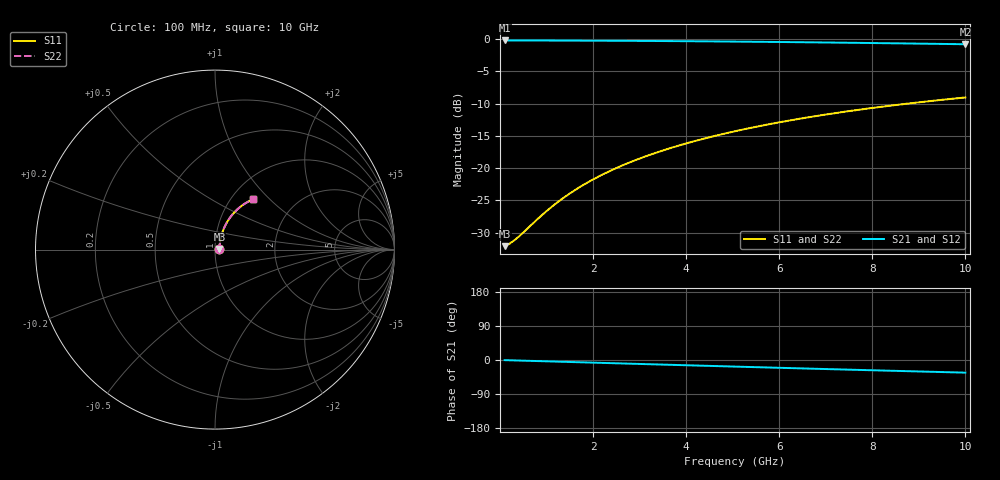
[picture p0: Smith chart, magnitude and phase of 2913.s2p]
# Hz S RI R 50.00
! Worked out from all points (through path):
!   100 points, 100 MHz to 10 GHz, reference 50 ohm
!   highest |S21| = -0.22 dB at 100 MHz (marker M1); lowest = -0.8 dB at 10 GHz (marker M2)
!   group delay of S21, straight-line fit = 9.29 ps
!   lowest |S11| = -32.1 dB at 100 MHz (marker M3), VSWR 1.05, Z = 52.5 + j0.394 ohm
!   |S11| at or under -10 dB: start of sweep to 8.763 GHz
!   |S22| runs from -32.1 to -9.1 dB; largest |S21 - S12| = 0
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1e8  0.0246 0.00375  0.9754 -0.00594  0.9754 -0.00594  0.0246 0.00375
2e8  0.0248 0.0075  0.9752 -0.0119  0.9752 -0.0119  0.0248 0.0075
3e8  0.025 0.0112  0.9749 -0.0178  0.9749 -0.0178  0.025 0.0112
4e8  0.0253 0.015  0.9747 -0.0237  0.9747 -0.0237  0.0253 0.015
9e8  0.0271 0.0336  0.9727 -0.0533  0.9727 -0.0533  0.0271 0.0336
1.2e9  0.0287 0.0448  0.971 -0.071  0.971 -0.071  0.0287 0.0448
1.5e9  0.0306 0.0558  0.9688 -0.0886  0.9688 -0.0886  0.0306 0.0558
1.8e9  0.033 0.0667  0.9662 -0.1061  0.9662 -0.1061  0.033 0.0667
2.1e9  0.0357 0.0776  0.9632 -0.1235  0.9632 -0.1235  0.0357 0.0776
2.5e9  0.0399 0.0918  0.9585 -0.1465  0.9585 -0.1465  0.0399 0.0918
2.9e9  0.0448 0.1058  0.9531 -0.1693  0.9531 -0.1693  0.0448 0.1058
3.4e9  0.0518 0.1229  0.9453 -0.1973  0.9453 -0.1973  0.0518 0.1229
3.8e9  0.0581 0.1361  0.9383 -0.2193  0.9383 -0.2193  0.0581 0.1361
4.2e9  0.065 0.149  0.9306 -0.241  0.9306 -0.241  0.065 0.149
4.6e9  0.0725 0.1615  0.9223 -0.2623  0.9223 -0.2623  0.0725 0.1615
5.1e9  0.0825 0.1765  0.911 -0.2883  0.911 -0.2883  0.0825 0.1765
5.9e9  0.1003 0.199  0.8911 -0.3285  0.8911 -0.3285  0.1003 0.199
6.7e9  0.1198 0.2196  0.869 -0.3667  0.869 -0.3667  0.1198 0.2196
7.5e9  0.1409 0.2379  0.8452 -0.4027  0.8452 -0.4027  0.1409 0.2379
8.4e9  0.166 0.2559  0.8164 -0.4407  0.8164 -0.4407  0.166 0.2559
9.2e9  0.1894 0.2695  0.7895 -0.4722  0.7895 -0.4722  0.1894 0.2695
1e10  0.2135 0.2808  0.7615 -0.5014  0.7615 -0.5014  0.2135 0.2808
